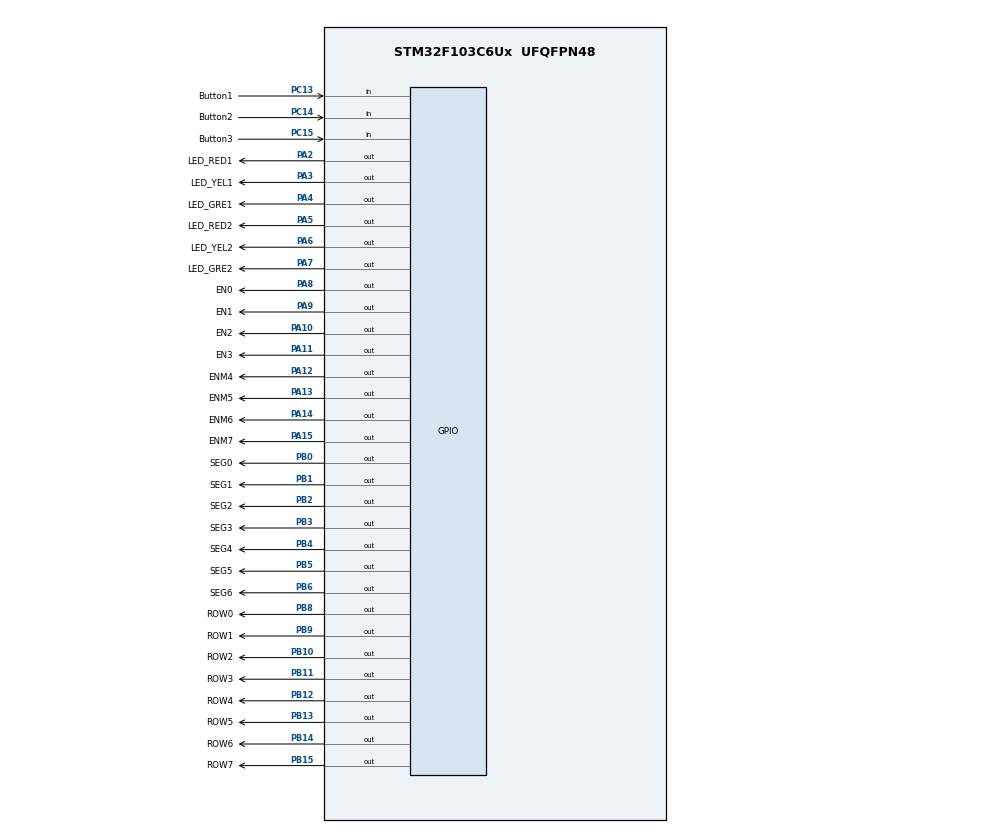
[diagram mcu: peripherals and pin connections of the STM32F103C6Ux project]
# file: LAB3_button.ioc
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Mcu.Family=STM32F1
Mcu.Name=STM32F103C6Ux
Mcu.Package=UFQFPN48
NVIC.PriorityGroup=NVIC_PRIORITYGROUP_4
NVIC.TIM2_IRQn=true\:0\:0\:false\:false\:true\:true\:true
PA10.GPIO_Label=EN2
PA10.Signal=GPIO_Output
PA11.GPIO_Label=EN3
PA11.Signal=GPIO_Output
PA12.GPIO_Label=ENM4
PA12.Signal=GPIO_Output
PA13.GPIO_Label=ENM5
PA13.Signal=GPIO_Output
PA14.GPIO_Label=ENM6
PA14.Signal=GPIO_Output
PA15.GPIO_Label=ENM7
PA15.Signal=GPIO_Output
PA2.GPIO_Label=LED_RED1
PA2.Signal=GPIO_Output
PA3.GPIO_Label=LED_YEL1
PA3.Signal=GPIO_Output
PA4.GPIO_Label=LED_GRE1
PA4.Signal=GPIO_Output
PA5.GPIO_Label=LED_RED2
PA5.Signal=GPIO_Output
PA6.GPIO_Label=LED_YEL2
PA6.Signal=GPIO_Output
PA7.GPIO_Label=LED_GRE2
PA7.Signal=GPIO_Output
PA8.GPIO_Label=EN0
PA8.Signal=GPIO_Output
PA9.GPIO_Label=EN1
PA9.Signal=GPIO_Output
PB0.GPIO_Label=SEG0
PB0.Signal=GPIO_Output
PB1.GPIO_Label=SEG1
PB1.Signal=GPIO_Output
PB10.GPIO_Label=ROW2
PB10.Signal=GPIO_Output
PB11.GPIO_Label=ROW3
PB11.Signal=GPIO_Output
PB12.GPIO_Label=ROW4
PB12.Signal=GPIO_Output
PB13.GPIO_Label=ROW5
PB13.Signal=GPIO_Output
PB14.GPIO_Label=ROW6
PB14.Signal=GPIO_Output
PB15.GPIO_Label=ROW7
PB15.Signal=GPIO_Output
PB2.GPIO_Label=SEG2
PB2.Signal=GPIO_Output
PB3.GPIO_Label=SEG3
PB3.Signal=GPIO_Output
PB4.GPIO_Label=SEG4
PB4.Signal=GPIO_Output
PB5.GPIO_Label=SEG5
PB5.Signal=GPIO_Output
PB6.GPIO_Label=SEG6
PB6.Signal=GPIO_Output
PB8.GPIO_Label=ROW0
PB8.Signal=GPIO_Output
PB9.GPIO_Label=ROW1
PB9.Signal=GPIO_Output
PC13-TAMPER-RTC.GPIO_Label=Button1
PC13-TAMPER-RTC.GPIO_PuPd=GPIO_PULLUP
PC13-TAMPER-RTC.Signal=GPIO_Input
PC14-OSC32_IN.GPIO_Label=Button2
PC14-OSC32_IN.GPIO_PuPd=GPIO_PULLUP
PC14-OSC32_IN.Signal=GPIO_Input
PC15-OSC32_OUT.GPIO_Label=Button3
PC15-OSC32_OUT.GPIO_PuPd=GPIO_PULLUP
PC15-OSC32_OUT.Signal=GPIO_Input
ProjectManager.HeapSize=0x200
ProjectManager.StackSize=0x400
ProjectManager.TargetToolchain=STM32CubeIDE
RCC.APB1Freq_Value=8000000
RCC.APB2Freq_Value=8000000
TIM2.Period=9
TIM2.Prescaler=7999
VP_SYS_VS_ND.Mode=No_Debug
VP_TIM2_VS_ClockSourceINT.Mode=Internal
board=custom

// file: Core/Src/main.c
/* USER CODE BEGIN Header */
/**
  ******************************************************************************
  * @file           : main.c
  * @brief          : Main program body
  ******************************************************************************
  * @attention
  *
  * <h2><center>&copy; Copyright (c) 2024 STMicroelectronics.
  * All rights reserved.</center></h2>
  *
  * This software component is licensed by ST under BSD 3-Clause license,
  * the "License"; You may not use this file except in compliance with the
  * License. You may obtain a copy of the License at:
  *                        opensource.org/licenses/BSD-3-Clause
  *
  ******************************************************************************
  */
/* USER CODE END Header */
#include "main.h"

/* USER CODE BEGIN Includes */
#include "software_timer.h"
#include "button.h"
#include "led7_segment.h"
#include "traffic_light.h"
#include "fsm_automatic.h"
#include "fsm_manual.h"
#include "fsm_setting.h"

/* USER CODE END Includes */

TIM_HandleTypeDef htim2;

/* USER CODE BEGIN PV */
//int counter = 100;
//int counter_led = 100;
/* USER CODE END PV */

void SystemClock_Config(void);
static void MX_GPIO_Init(void);
static void MX_TIM2_Init(void);

int main(void)
{

  /* MCU Configuration--------------------------------------------------------*/

  /* Reset of all peripherals, Initializes the Flash interface and the Systick. */
  HAL_Init();

  /* Configure the system clock */
  SystemClock_Config();

  /* Initialize all configured peripherals */
  MX_GPIO_Init();
  MX_TIM2_Init();
  /* USER CODE BEGIN 2 */
  HAL_TIM_Base_Start_IT (& htim2 ) ;
  /* USER CODE END 2 */

  /* Infinite loop */
  /* USER CODE BEGIN WHILE */
//  setTimer1(100); //timer for updating time
//  setTimer2(100); //timer for 7 SEGMENTS
//  setTimer3(100); //timer for LEDs
  setTimer7segment1(25);
  setTimer7segment2(25);
  status1 = INIT;
  status2 = INIT;
  //status_manual = INIT;

  while (1)
  {
    /* USER CODE END WHILE */

	  fsm_automatic_run();
	  fsm_manual_run();
	  fsm_setting_run();
  }
}

void SystemClock_Config(void)
{
  RCC_OscInitTypeDef RCC_OscInitStruct = {0};
  RCC_ClkInitTypeDef RCC_ClkInitStruct = {0};

  /** Initializes the RCC Oscillators according to the specified parameters
  * in the RCC_OscInitTypeDef structure.
  */
  RCC_OscInitStruct.OscillatorType = RCC_OSCILLATORTYPE_HSI;
  RCC_OscInitStruct.HSIState = RCC_HSI_ON;
  RCC_OscInitStruct.HSICalibrationValue = RCC_HSICALIBRATION_DEFAULT;
  RCC_OscInitStruct.PLL.PLLState = RCC_PLL_NONE;
  if (HAL_RCC_OscConfig(&RCC_OscInitStruct) != HAL_OK)
  {
    Error_Handler();
  }
  /** Initializes the CPU, AHB and APB buses clocks
  */
  RCC_ClkInitStruct.ClockType = RCC_CLOCKTYPE_HCLK|RCC_CLOCKTYPE_SYSCLK
                              |RCC_CLOCKTYPE_PCLK1|RCC_CLOCKTYPE_PCLK2;
  RCC_ClkInitStruct.SYSCLKSource = RCC_SYSCLKSOURCE_HSI;
  RCC_ClkInitStruct.AHBCLKDivider = RCC_SYSCLK_DIV1;
  RCC_ClkInitStruct.APB1CLKDivider = RCC_HCLK_DIV1;
  RCC_ClkInitStruct.APB2CLKDivider = RCC_HCLK_DIV1;

  if (HAL_RCC_ClockConfig(&RCC_ClkInitStruct, FLASH_LATENCY_0) != HAL_OK)
  {
    Error_Handler();
  }
}

static void MX_TIM2_Init(void)
{

  TIM_ClockConfigTypeDef sClockSourceConfig = {0};
  TIM_MasterConfigTypeDef sMasterConfig = {0};

  htim2.Instance = TIM2;
  htim2.Init.Prescaler = 7999;
  htim2.Init.CounterMode = TIM_COUNTERMODE_UP;
  htim2.Init.Period = 9;
  htim2.Init.ClockDivision = TIM_CLOCKDIVISION_DIV1;
  htim2.Init.AutoReloadPreload = TIM_AUTORELOAD_PRELOAD_DISABLE;
  if (HAL_TIM_Base_Init(&htim2) != HAL_OK)
  {
    Error_Handler();
  }
  sClockSourceConfig.ClockSource = TIM_CLOCKSOURCE_INTERNAL;
  if (HAL_TIM_ConfigClockSource(&htim2, &sClockSourceConfig) != HAL_OK)
  {
    Error_Handler();
  }
  sMasterConfig.MasterOutputTrigger = TIM_TRGO_RESET;
  sMasterConfig.MasterSlaveMode = TIM_MASTERSLAVEMODE_DISABLE;
  if (HAL_TIMEx_MasterConfigSynchronization(&htim2, &sMasterConfig) != HAL_OK)
  {
    Error_Handler();
  }

}

static void MX_GPIO_Init(void)
{
  GPIO_InitTypeDef GPIO_InitStruct = {0};

  /* GPIO Ports Clock Enable */
  __HAL_RCC_GPIOC_CLK_ENABLE();
  __HAL_RCC_GPIOA_CLK_ENABLE();
  __HAL_RCC_GPIOB_CLK_ENABLE();

  /*Configure GPIO pin Output Level */
  HAL_GPIO_WritePin(GPIOA, LED_RED1_Pin|LED_YEL1_Pin|LED_GRE1_Pin|LED_RED2_Pin
                          |LED_YEL2_Pin|LED_GRE2_Pin|EN0_Pin|EN1_Pin
                          |EN2_Pin|EN3_Pin|ENM4_Pin|ENM5_Pin
                          |ENM6_Pin|ENM7_Pin, GPIO_PIN_RESET);

  /*Configure GPIO pin Output Level */
  HAL_GPIO_WritePin(GPIOB, SEG0_Pin|SEG1_Pin|SEG2_Pin|ROW2_Pin
                          |ROW3_Pin|ROW4_Pin|ROW5_Pin|ROW6_Pin
                          |ROW7_Pin|SEG3_Pin|SEG4_Pin|SEG5_Pin
                          |SEG6_Pin|ROW0_Pin|ROW1_Pin, GPIO_PIN_RESET);

  /*Configure GPIO pins : Button1_Pin Button2_Pin Button3_Pin */
  GPIO_InitStruct.Pin = Button1_Pin|Button2_Pin|Button3_Pin;
  GPIO_InitStruct.Mode = GPIO_MODE_INPUT;
  GPIO_InitStruct.Pull = GPIO_PULLUP;
  HAL_GPIO_Init(GPIOC, &GPIO_InitStruct);

  /*Configure GPIO pins : LED_RED1_Pin LED_YEL1_Pin LED_GRE1_Pin LED_RED2_Pin
                           LED_YEL2_Pin LED_GRE2_Pin EN0_Pin EN1_Pin
                           EN2_Pin EN3_Pin ENM4_Pin ENM5_Pin
                           ENM6_Pin ENM7_Pin */
  GPIO_InitStruct.Pin = LED_RED1_Pin|LED_YEL1_Pin|LED_GRE1_Pin|LED_RED2_Pin
                          |LED_YEL2_Pin|LED_GRE2_Pin|EN0_Pin|EN1_Pin
                          |EN2_Pin|EN3_Pin|ENM4_Pin|ENM5_Pin
                          |ENM6_Pin|ENM7_Pin;
  GPIO_InitStruct.Mode = GPIO_MODE_OUTPUT_PP;
  GPIO_InitStruct.Pull = GPIO_NOPULL;
  GPIO_InitStruct.Speed = GPIO_SPEED_FREQ_LOW;
  HAL_GPIO_Init(GPIOA, &GPIO_InitStruct);

  /*Configure GPIO pins : SEG0_Pin SEG1_Pin SEG2_Pin ROW2_Pin
                           ROW3_Pin ROW4_Pin ROW5_Pin ROW6_Pin
                           ROW7_Pin SEG3_Pin SEG4_Pin SEG5_Pin
                           SEG6_Pin ROW0_Pin ROW1_Pin */
  GPIO_InitStruct.Pin = SEG0_Pin|SEG1_Pin|SEG2_Pin|ROW2_Pin
                          |ROW3_Pin|ROW4_Pin|ROW5_Pin|ROW6_Pin
                          |ROW7_Pin|SEG3_Pin|SEG4_Pin|SEG5_Pin
                          |SEG6_Pin|ROW0_Pin|ROW1_Pin;
  GPIO_InitStruct.Mode = GPIO_MODE_OUTPUT_PP;
  GPIO_InitStruct.Pull = GPIO_NOPULL;
  GPIO_InitStruct.Speed = GPIO_SPEED_FREQ_LOW;
  HAL_GPIO_Init(GPIOB, &GPIO_InitStruct);

}

/* USER CODE BEGIN 4 */
//int counter = 100;
void HAL_TIM_PeriodElapsedCallback ( TIM_HandleTypeDef * htim )
{
//	counter--;
//	if ( counter <= 0) {
//		counter = 100;
//		HAL_GPIO_TogglePin(LED_RED_GPIO_Port, LED_RED_Pin) ;
//	}
	//ex1();
	//ex2();
	//ex4();
	timerRun();
	getKeyInput();
}
/* USER CODE END 4 */

void Error_Handler(void)
{
  __disable_irq();
  while (1)
  {
  }
}

/************************ (C) COPYRIGHT STMicroelectronics *****END OF FILE****/
